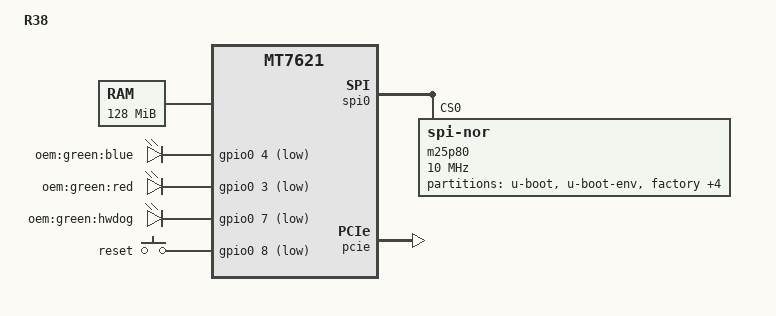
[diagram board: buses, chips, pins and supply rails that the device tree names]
/dts-v1/;

#include "mt7621.dtsi"

#include <dt-bindings/input/input.h>
#include <dt-bindings/gpio/gpio.h>

/ {
	compatible = "OEM,MT7621", "mediatek,mt7621-soc";
	model = "R38";

	memory@0 {
		device_type = "memory";
		reg = <0x0 0x8000000>;
	};

	chosen {
		bootargs = "console=ttyS0,115200";
	};

	gpio-leds {
		compatible = "gpio-leds";
		blue {
			label = "oem:green:blue";
			gpios = <&gpio0 4 GPIO_ACTIVE_LOW>;
		};

		red {
			label = "oem:green:red";
			gpios = <&gpio0 3 GPIO_ACTIVE_LOW>;
		};

		hwdog {
			label = "oem:green:hwdog";
			gpios = <&gpio0 7 GPIO_ACTIVE_LOW>;
		};
	};

	gpio-keys-polled {
		compatible = "gpio-keys-polled";
		#address-cells = <1>;
		#size-cells = <0>;
		poll-interval = <20>;

		reset {
			label = "reset";
			gpios = <&gpio0 8 GPIO_ACTIVE_LOW>;
			linux,code = <KEY_RESTART>;
		};
	};
};

&ethernet {
	mtd-mac-address = <&bdinfo 0xDE00>;
	mediatek,port-map = "llllw";
};

&spi0 {
	status = "okay";

	m25p80@0 {
		#address-cells = <1>;
		#size-cells = <1>;
		compatible = "jedec,spi-nor";
		reg = <0>;
		spi-max-frequency = <10000000>;
		m25p,chunked-io = <32>;

		partition@0 {
			label = "u-boot";
			reg = <0x0 0x30000>;
		};

		partition@30000 {
			label = "u-boot-env";
			reg = <0x30000 0x10000>;
		};

		factory: partition@40000 {
			label = "factory";
			reg = <0x40000 0x10000>;
		};

		debug: partition@fd0000 {
			label = "debug";
			reg = <0xfd0000 0x10000>;
		};

		backup: partition@fe0000 {
			label = "backup";
			reg = <0xfe0000 0x10000>;
		};

		bdinfo: partition@ff0000 {
			label = "bdinfo";
			reg = <0xff0000 0x10000>;
		};

		partition@50000 {
			label = "firmware";
			reg = <0x50000 0xf80000>;
		};
	};
};

&pcie {
	status = "okay";

	pcie0 {
		mt76@0,0 {
			reg = <0x0000 0 0 0 0>;
			device_type = "pci";
			mediatek,mtd-eeprom = <&factory 0x0000>;
			ieee80211-freq-limit = <2400000 2500000>;
		};
	};

	pcie1 {
		mt76@1,0 {
			reg = <0x0000 0 0 0 0>;
			device_type = "pci";
			mediatek,mtd-eeprom = <&factory 0x8000>;
			ieee80211-freq-limit = <5000000 6000000>;
		};
	};
};

&pinctrl {
	state_default: pinctrl0 {
		gpio {
			ralink,group = "wdt", "jtag";
			ralink,function = "gpio";
		};
	};
};
